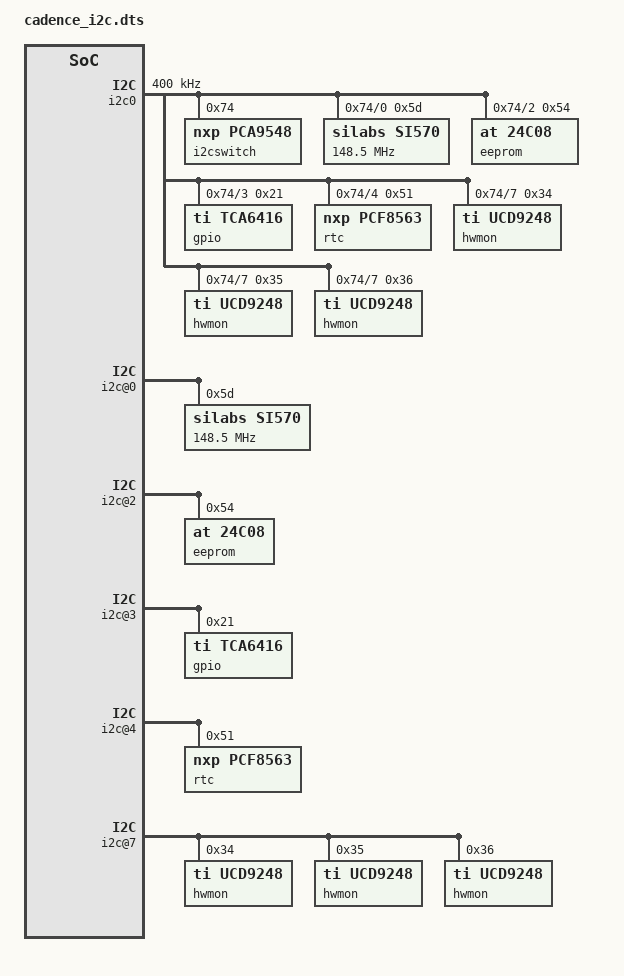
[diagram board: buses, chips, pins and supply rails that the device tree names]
#include "base.dtsi"


axi_iic:i2c@41600000 {
    status = "okay";
	interrupt-parent = <&intc>;
    clock-frequency = <400000>;
    pinctrl-names = "default";
    pinctrl-0 = <&pinctrl_i2c0_default>;
 
    i2cswitch@74 {
        compatible = "nxp,pca9548";
        #address-cells = <1>;
        #size-cells = <0>;
        reg = <0x74>;i2c0 {
    status = "okay";
    clock-frequency = <400000>;
    pinctrl-names = "default";
    pinctrl-0 = <&pinctrl_i2c0_default>;
 
    i2cswitch@74 {
        compatible = "nxp,pca9548";
        #address-cells = <1>;
        #size-cells = <0>;
        reg = <0x74>;
 
        i2c@0 {
            #address-cells = <1>;
            #size-cells = <0>;
            reg = <0>;
            si570: clock-generator@5d {
                #clock-cells = <0>;
                compatible = "silabs,si570";
                temperature-stability = <50>;
                reg = <0x5d>;
                factory-fout = <156250000>;
                clock-frequency = <148500000>;
            };
        };
 
        i2c@2 {
            #address-cells = <1>;
            #size-cells = <0>;
            reg = <2>;
            eeprom@54 {
                compatible = "at,24c08";
                reg = <0x54>;
            };
        };
 
        i2c@3 {
            #address-cells = <1>;
            #size-cells = <0>;
            reg = <3>;
            gpio@21 {
                compatible = "ti,tca6416";
                reg = <0x21>;
                gpio-controller;
                #gpio-cells = <2>;
            };
        };
 
        i2c@4 {
            #address-cells = <1>;
            #size-cells = <0>;
            reg = <4>;
            rtc@51 {
                compatible = "nxp,pcf8563";
                reg = <0x51>;
            };
        };
 
        i2c@7 {
            #address-cells = <1>;
            #size-cells = <0>;
            reg = <7>;
            hwmon@52 {
                compatible = "ti,ucd9248";
                reg = <52>;
            };
            hwmon@53 {
                compatible = "ti,ucd9248";
                reg = <53>;
            };
            hwmon@54 {
                compatible = "ti,ucd9248";
                reg = <54>;
            };
        };
    };
};
 
        i2c@0 {
            #address-cells = <1>;
            #size-cells = <0>;
            reg = <0>;
            si570: clock-generator@5d {
                #clock-cells = <0>;
                compatible = "silabs,si570";
                temperature-stability = <50>;
                reg = <0x5d>;
                factory-fout = <156250000>;
                clock-frequency = <148500000>;
            };
        };
 
        i2c@2 {
            #address-cells = <1>;
            #size-cells = <0>;
            reg = <2>;
            eeprom@54 {
                compatible = "at,24c08";
                reg = <0x54>;
            };
        };
 
        i2c@3 {
            #address-cells = <1>;
            #size-cells = <0>;
            reg = <3>;
            gpio@21 {
                compatible = "ti,tca6416";
                reg = <0x21>;
                gpio-controller;
                #gpio-cells = <2>;
            };
        };
 
        i2c@4 {
            #address-cells = <1>;
            #size-cells = <0>;
            reg = <4>;
            rtc@51 {
                compatible = "nxp,pcf8563";
                reg = <0x51>;
            };
        };
 
        i2c@7 {
            #address-cells = <1>;
            #size-cells = <0>;
            reg = <7>;
            hwmon@52 {
                compatible = "ti,ucd9248";
                reg = <52>;
            };
            hwmon@53 {
                compatible = "ti,ucd9248";
                reg = <53>;
            };
            hwmon@54 {
                compatible = "ti,ucd9248";
                reg = <54>;
            };
        };
    };
};
